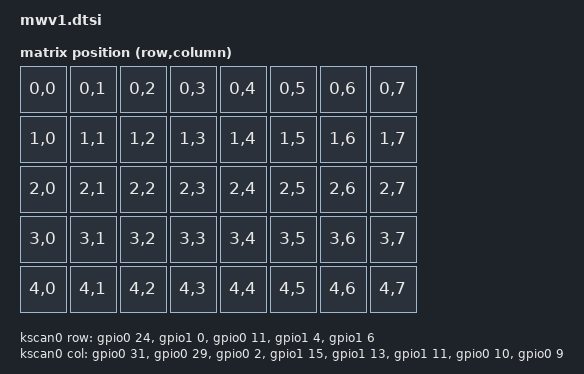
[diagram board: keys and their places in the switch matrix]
#include <dt-bindings/zmk/matrix_transform.h>

/ {
    // Falls das noch drinsteht, bitte entfernen:
    // compatible = "zmk,keyboard";

    kscan0: kscan0 {
        compatible = "zmk,kscan-gpio-matrix";
        diode-direction = "col2row";

        // Deine echten Pins hier (Beispiel!)
        row-gpios = < &gpio0 24 (GPIO_ACTIVE_HIGH | GPIO_PULL_DOWN) >,
                    < &gpio1 0  (GPIO_ACTIVE_HIGH | GPIO_PULL_DOWN) >,
                    < &gpio0 11 (GPIO_ACTIVE_HIGH | GPIO_PULL_DOWN) >,
                    < &gpio1 4  (GPIO_ACTIVE_HIGH | GPIO_PULL_DOWN) >,
                    < &gpio1 6  (GPIO_ACTIVE_HIGH | GPIO_PULL_DOWN) >;

        col-gpios = < &gpio0 31 GPIO_ACTIVE_HIGH >,
                    < &gpio0 29 GPIO_ACTIVE_HIGH >,
                    < &gpio0 2  GPIO_ACTIVE_HIGH >,
                    < &gpio1 15 GPIO_ACTIVE_HIGH >,
                    < &gpio1 13 GPIO_ACTIVE_HIGH >,
                    < &gpio1 11 GPIO_ACTIVE_HIGH >,
                    < &gpio0 10 GPIO_ACTIVE_HIGH >,
                    < &gpio0 9  GPIO_ACTIVE_HIGH >;
    };

    /* Matrix-Transform für 5x8-Matrix (40 logische Positionen) */
    default_transform: keymap_transform0 {
        compatible = "zmk,matrix-transform";
        rows = <5>;
        columns = <8>;

        map = <
            // Row 0, Col 0..7
            RC(0,0) RC(0,1) RC(0,2) RC(0,3) RC(0,4) RC(0,5) RC(0,6) RC(0,7)
            // Row 1
            RC(1,0) RC(1,1) RC(1,2) RC(1,3) RC(1,4) RC(1,5) RC(1,6) RC(1,7)
            // Row 2
            RC(2,0) RC(2,1) RC(2,2) RC(2,3) RC(2,4) RC(2,5) RC(2,6) RC(2,7)
            // Row 3
            RC(3,0) RC(3,1) RC(3,2) RC(3,3) RC(3,4) RC(3,5) RC(3,6) RC(3,7)
            // Row 4
            RC(4,0) RC(4,1) RC(4,2) RC(4,3) RC(4,4) RC(4,5) RC(4,6) RC(4,7)
        >;
    };

    physical_layout0: physical_layout_0 {
        compatible = "zmk,physical-layout";
        display-name = "mwv1 default";
        kscan = <&kscan0>;
        transform = <&default_transform>;
    };

    chosen {
        zmk,kscan = &kscan0;
        zmk,physical-layout = &physical_layout0;
    };
};
